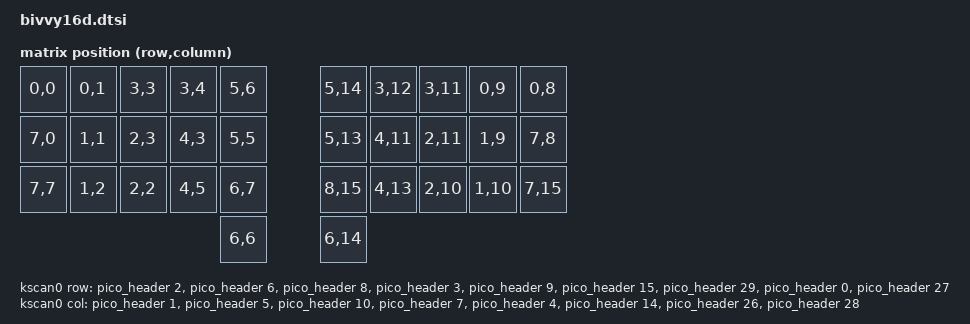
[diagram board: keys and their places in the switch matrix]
/*
 * Copyright (c) 2020 The ZMK Contributors
 *
 * SPDX-License-Identifier: MIT
 */

#include <dt-bindings/zmk/matrix_transform.h>
#include <physical_layouts.dtsi>
#include "bivvy16d-layouts.dtsi"

/* By design, this is a reversible PCB so same wiring for left and right,
 * so can define the GPIOs once centrally.
 */

/ {
    kscan0: kscan0 {
        compatible = "zmk,kscan-gpio-matrix";
        diode-direction = "col2row";
        wakeup-source;

        col-gpios
            = <&pico_header 1 GPIO_OPEN_SOURCE>
            , <&pico_header 5 GPIO_OPEN_SOURCE>
            , <&pico_header 10 GPIO_OPEN_SOURCE>
            , <&pico_header 7 GPIO_OPEN_SOURCE>
            , <&pico_header 4 GPIO_OPEN_SOURCE>
            , <&pico_header 14 GPIO_OPEN_SOURCE>
            , <&pico_header 26 GPIO_OPEN_SOURCE>
            , <&pico_header 28 GPIO_OPEN_SOURCE>
            ;

        row-gpios
            = <&pico_header 2 (GPIO_ACTIVE_HIGH | GPIO_PULL_DOWN)>
            , <&pico_header 6 (GPIO_ACTIVE_HIGH | GPIO_PULL_DOWN)>
            , <&pico_header 8 (GPIO_ACTIVE_HIGH | GPIO_PULL_DOWN)>
            , <&pico_header 3 (GPIO_ACTIVE_HIGH | GPIO_PULL_DOWN)>
            , <&pico_header 9 (GPIO_ACTIVE_HIGH | GPIO_PULL_DOWN)>
            , <&pico_header 15 (GPIO_ACTIVE_HIGH | GPIO_PULL_DOWN)>
            , <&pico_header 29 (GPIO_ACTIVE_HIGH | GPIO_PULL_DOWN)>
            , <&pico_header 0 (GPIO_ACTIVE_HIGH | GPIO_PULL_DOWN)>
            , <&pico_header 27 (GPIO_ACTIVE_HIGH | GPIO_PULL_DOWN)>
            ;
    };
};

/*
 * Same logical rows as used in the DTSI file:
 *
 * Q 	W 	E 	R 	T 		Y 	U 	I 	O 	P
 * A 	S 	D 	F 	G 		H 	J 	K 	L 	; 
 * Z 	X 	C 	V 	B 		N 	M 	, 	. 	/
 * ⬆️	⬅️	⏺️	➡️	⬇️		⬆️	⬅️	⏺️	➡️	⬇️
 *   	  	  	  	⌫ 		␠ 	  	  	  	    
 *
 * The columns and row value here are the scaning matrix (GPIOs), not physical/logical!
 * Scannig cols 0-7 on left, then 8-15 on the right with col-offset 8 used on right
 */

/ {
    default_transform: keymap_transform0 {
        compatible = "zmk,matrix-transform";
        columns = <8>;
        rows = <9>;
        map = <
            RC(0,0) RC(0,1) RC(3,3) RC(3,4) RC(5,6)   RC(5,14) RC(3,12) RC(3,11) RC(0,9)  RC(0,8)
            RC(7,0) RC(1,1) RC(2,3) RC(4,3) RC(5,5)   RC(5,13) RC(4,11) RC(2,11) RC(1,9)  RC(7,8)
            RC(7,7) RC(1,2) RC(2,2) RC(4,5) RC(6,7)   RC(8,15) RC(4,13) RC(2,10) RC(1,10) RC(7,15)
        /*    RC(8,0) RC(8,6) RC(8,3) RC(8,5) RC(8,1)   RC(8,9) RC(8,13) RC(8,11) RC(8,14)  RC(8,8)  */
                                            RC(6,6)   RC(6,14)
        >;
    };
};

/ {
    physical_layout0: physical_layout_0 { // First physical layout, use different naming for other layouts
        compatible = "zmk,physical-layout";
        display-name = "Default Layout";
        kscan = <&kscan0>; // Label of the kscan node, optional if all layouts use the same
        transform = <&default_transform>; // Label of the matrix transform for this layout
    };
};

/ {
    chosen {
        zmk,physical-layout = &physical_layout0;
        // Other chosen items
    };

    wired_split {
        compatible = "zmk,wired-split";
        device = <&pio0_uart0>;
    };
};

